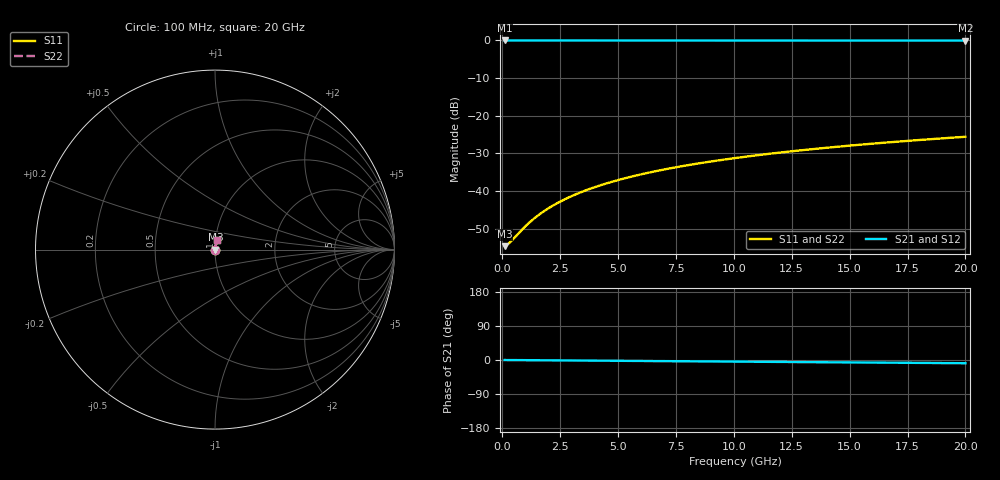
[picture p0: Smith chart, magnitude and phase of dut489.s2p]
! Touchstone file exported from HFSS 2026.1.0
!  File:  C:/ffzhzh/LocalFiles/Ansys_Project_Files/temp_train_TSV_489_1783022788_46388.aedt
!  Generated:  04:09:37 AM Jul  3, 2026
!  Design:  TSV
!  Project:  temp_train_TSV_489_1783022788_46388
! Variables:
!  h_bsmrdl = 2um
!  h_ox = 20um
!  h_rdl = 5um
!  h_sub = 85.77um
!  h_tmrdl = 5um
!  h_tsv = 85.77um
!  h_via = 3um
!  l_bsmrdl = 300um
!  l_sub = 404.64um
!  l_tmrdl = 200um
!  m_sub = 200um
!  pitch = 16.65um
!  r_tsv = 2.32um
!  s_tmrdl = 10um
!  w_bsmrdl = 18um
!  w_sub = 500um
!  w_tmrdl = 12um
!  x_tsv_center1 = 206um
!  x_tsv_center2 = 524um
!  x_tsv_center3 = 736um
!  x_tsv_center4 = 1054um
!  x_tsv_center5 = 1266um
!  x_tsv_center6 = 1584um
# GHz S MA R 50.000000
! Terminal data exported
! Port[1] = TSV1_1_T1
! Port[2] = TSV1_1_T2
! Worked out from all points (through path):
!   200 points, 100 MHz to 20 GHz, reference 50 ohm
!   highest |S21| = -0.02 dB at 100 MHz (marker M1); lowest = -0.1 dB at 20 GHz (marker M2)
!   group delay of S21, straight-line fit = 1.17 ps
!   lowest |S11| = -54.6 dB at 100 MHz (marker M3), VSWR 1.00, Z = 50.2 + j0.0292 ohm
!   |S11| at or under -10 dB: start of sweep to end of sweep
!   |S22| runs from -54.6 to -25.6 dB; largest |S21 - S12| = 6.5e-15
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0.1  0.001854 9.0  0.9982 -0.0  0.9982 -0.0  0.001854 9.0
! Gamma 0 0 0 0
! Port Impedance 50 0 50 0
0.2  0.001928 17.5  0.9982 -0.1  0.9982 -0.1  0.001928 17.5
0.3  0.002042 25.2  0.9982 -0.1  0.9982 -0.1  0.002042 25.2
0.8  0.002964 49.8  0.9981 -0.3  0.9981 -0.3  0.002964 49.8
1.1  0.003652 57.7  0.9981 -0.5  0.9981 -0.5  0.003652 57.7
1.4  0.004385 63.1  0.998 -0.6  0.998 -0.6  0.004385 63.1
1.7  0.005146 66.8  0.998 -0.7  0.998 -0.7  0.005146 66.8
2.1  0.006187 70.3  0.998 -0.9  0.998 -0.9  0.006187 70.3
2.5  0.007246 72.7  0.998 -1.1  0.998 -1.1  0.007246 72.7
3  0.008585 74.8  0.9979 -1.3  0.9979 -1.3  0.008585 74.8
3.5  0.009932 76.2  0.9978 -1.5  0.9978 -1.5  0.009932 76.2
4.2  0.01182 77.6  0.9978 -1.8  0.9978 -1.8  0.01182 77.6
5  0.01399 78.5  0.9976 -2.2  0.9976 -2.2  0.01399 78.5
5.9  0.01641 79.1  0.9975 -2.5  0.9975 -2.5  0.01641 79.1
6.8  0.01882 79.4  0.9973 -2.9  0.9973 -2.9  0.01882 79.4
8.3  0.02281 79.5  0.997 -3.6  0.997 -3.6  0.02281 79.5
10.1  0.02754 79.3  0.9966 -4.3  0.9966 -4.3  0.02754 79.3
11.7  0.03168 78.9  0.9962 -5.0  0.9962 -5.0  0.03168 78.9
13.4  0.03603 78.5  0.9957 -5.7  0.9957 -5.7  0.03603 78.5
15  0.04009 78.1  0.9953 -6.4  0.9953 -6.4  0.04009 78.1
16.7  0.04436 77.5  0.9949 -7.1  0.9949 -7.1  0.04436 77.5
20  0.05254 76.5  0.994 -8.5  0.994 -8.5  0.05254 76.5
